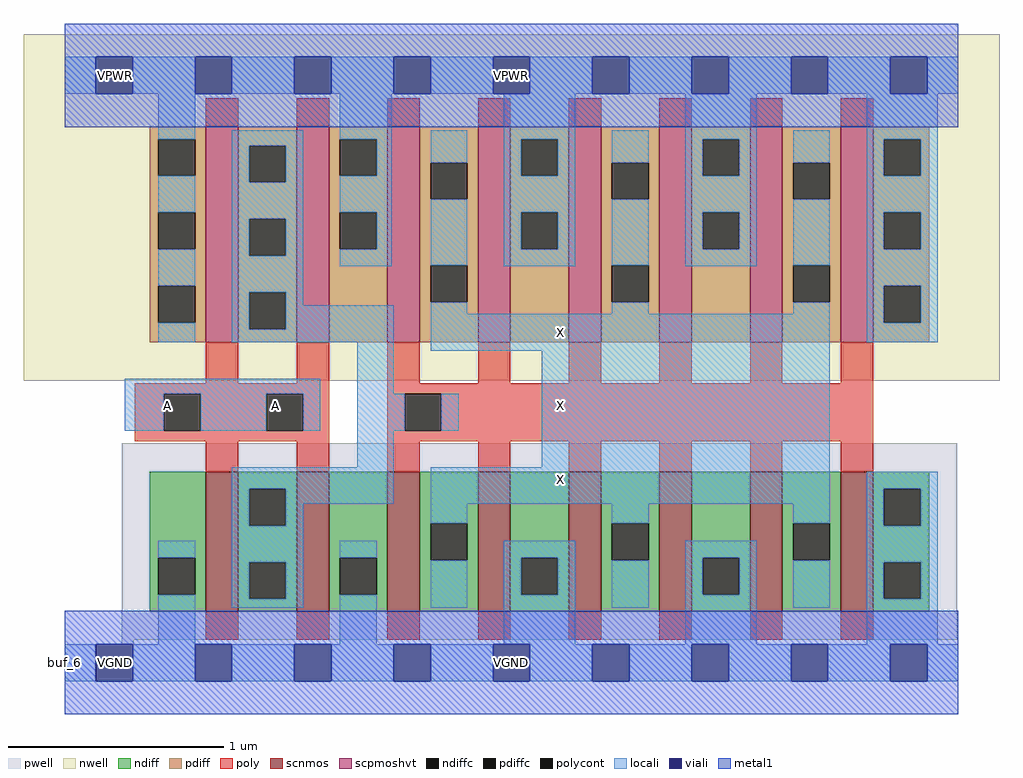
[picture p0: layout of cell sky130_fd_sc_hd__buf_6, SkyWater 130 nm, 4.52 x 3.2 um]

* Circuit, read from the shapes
.subckt sky130_fd_sc_hd__buf_6 A VGND VNB VPB VPWR X
XM1 n1 A VGND VNB sky130_fd_pr__nfet_01v8 w=0.65 l=0.15 m=2
XM2 X n1 VGND VNB sky130_fd_pr__nfet_01v8 w=0.65 l=0.15 m=6
XM3 n1 A VPWR VPB sky130_fd_pr__pfet_01v8_hvt w=1 l=0.15 m=2
XM4 X n1 VPWR VPB sky130_fd_pr__pfet_01v8_hvt w=1 l=0.15 m=6
.ends

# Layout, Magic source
magic
tech sky130B
magscale 1 2
<< nwell >>
rect -38 261 866 582
<< pwell >>
rect 53 21 827 203
rect 53 17 64 21
rect 30 -17 64 17
<< scnmos >>
rect 131 47 161 177
rect 215 47 245 177
rect 299 47 329 177
rect 383 47 413 177
rect 467 47 497 177
rect 551 47 581 177
rect 635 47 665 177
rect 719 47 749 177
<< scpmoshvt >>
rect 131 297 161 497
rect 215 297 245 497
rect 299 297 329 497
rect 383 297 413 497
rect 467 297 497 497
rect 551 297 581 497
rect 635 297 665 497
rect 719 297 749 497
<< ndiff >>
rect 79 97 131 177
rect 79 63 87 97
rect 121 63 131 97
rect 79 47 131 63
rect 161 161 215 177
rect 161 127 171 161
rect 205 127 215 161
rect 161 93 215 127
rect 161 59 171 93
rect 205 59 215 93
rect 161 47 215 59
rect 245 97 299 177
rect 245 63 255 97
rect 289 63 299 97
rect 245 47 299 63
rect 329 129 383 177
rect 329 95 339 129
rect 373 95 383 129
rect 329 47 383 95
rect 413 97 467 177
rect 413 63 423 97
rect 457 63 467 97
rect 413 47 467 63
rect 497 129 551 177
rect 497 95 507 129
rect 541 95 551 129
rect 497 47 551 95
rect 581 97 635 177
rect 581 63 591 97
rect 625 63 635 97
rect 581 47 635 63
rect 665 129 719 177
rect 665 95 675 129
rect 709 95 719 129
rect 665 47 719 95
rect 749 161 801 177
rect 749 127 759 161
rect 793 127 801 161
rect 749 93 801 127
rect 749 59 759 93
rect 793 59 801 93
rect 749 47 801 59
<< pdiff >>
rect 79 485 131 497
rect 79 451 87 485
rect 121 451 131 485
rect 79 417 131 451
rect 79 383 87 417
rect 121 383 131 417
rect 79 349 131 383
rect 79 315 87 349
rect 121 315 131 349
rect 79 297 131 315
rect 161 479 215 497
rect 161 445 171 479
rect 205 445 215 479
rect 161 411 215 445
rect 161 377 171 411
rect 205 377 215 411
rect 161 343 215 377
rect 161 309 171 343
rect 205 309 215 343
rect 161 297 215 309
rect 245 485 299 497
rect 245 451 255 485
rect 289 451 299 485
rect 245 417 299 451
rect 245 383 255 417
rect 289 383 299 417
rect 245 297 299 383
rect 329 463 383 497
rect 329 429 339 463
rect 373 429 383 463
rect 329 368 383 429
rect 329 334 339 368
rect 373 334 383 368
rect 329 297 383 334
rect 413 485 467 497
rect 413 451 423 485
rect 457 451 467 485
rect 413 417 467 451
rect 413 383 423 417
rect 457 383 467 417
rect 413 297 467 383
rect 497 463 551 497
rect 497 429 507 463
rect 541 429 551 463
rect 497 368 551 429
rect 497 334 507 368
rect 541 334 551 368
rect 497 297 551 334
rect 581 485 635 497
rect 581 451 591 485
rect 625 451 635 485
rect 581 417 635 451
rect 581 383 591 417
rect 625 383 635 417
rect 581 297 635 383
rect 665 463 719 497
rect 665 429 675 463
rect 709 429 719 463
rect 665 368 719 429
rect 665 334 675 368
rect 709 334 719 368
rect 665 297 719 334
rect 749 485 801 497
rect 749 451 759 485
rect 793 451 801 485
rect 749 417 801 451
rect 749 383 759 417
rect 793 383 801 417
rect 749 349 801 383
rect 749 315 759 349
rect 793 315 801 349
rect 749 297 801 315
<< ndiffc >>
rect 87 63 121 97
rect 171 127 205 161
rect 171 59 205 93
rect 255 63 289 97
rect 339 95 373 129
rect 423 63 457 97
rect 507 95 541 129
rect 591 63 625 97
rect 675 95 709 129
rect 759 127 793 161
rect 759 59 793 93
<< pdiffc >>
rect 87 451 121 485
rect 87 383 121 417
rect 87 315 121 349
rect 171 445 205 479
rect 171 377 205 411
rect 171 309 205 343
rect 255 451 289 485
rect 255 383 289 417
rect 339 429 373 463
rect 339 334 373 368
rect 423 451 457 485
rect 423 383 457 417
rect 507 429 541 463
rect 507 334 541 368
rect 591 451 625 485
rect 591 383 625 417
rect 675 429 709 463
rect 675 334 709 368
rect 759 451 793 485
rect 759 383 793 417
rect 759 315 793 349
<< poly >>
rect 131 497 161 523
rect 215 497 245 523
rect 299 497 329 523
rect 383 497 413 523
rect 467 497 497 523
rect 551 497 581 523
rect 635 497 665 523
rect 719 497 749 523
rect 131 259 161 297
rect 215 259 245 297
rect 65 249 245 259
rect 65 215 92 249
rect 126 215 187 249
rect 221 215 245 249
rect 65 205 245 215
rect 131 177 161 205
rect 215 177 245 205
rect 299 259 329 297
rect 383 259 413 297
rect 467 259 497 297
rect 551 259 581 297
rect 635 259 665 297
rect 719 259 749 297
rect 299 249 749 259
rect 299 215 315 249
rect 349 215 749 249
rect 299 205 749 215
rect 299 177 329 205
rect 383 177 413 205
rect 467 177 497 205
rect 551 177 581 205
rect 635 177 665 205
rect 719 177 749 205
rect 131 21 161 47
rect 215 21 245 47
rect 299 21 329 47
rect 383 21 413 47
rect 467 21 497 47
rect 551 21 581 47
rect 635 21 665 47
rect 719 21 749 47
<< polycont >>
rect 92 215 126 249
rect 187 215 221 249
rect 315 215 349 249
<< locali >>
rect 0 527 29 561
rect 63 527 121 561
rect 155 527 213 561
rect 247 527 305 561
rect 339 527 397 561
rect 431 527 489 561
rect 523 527 581 561
rect 615 527 673 561
rect 707 527 765 561
rect 799 527 828 561
rect 87 485 121 527
rect 87 417 121 451
rect 87 349 121 383
rect 87 297 121 315
rect 155 479 221 493
rect 155 445 171 479
rect 205 445 221 479
rect 155 411 221 445
rect 155 377 171 411
rect 205 377 221 411
rect 155 343 221 377
rect 255 485 303 527
rect 289 451 303 485
rect 255 417 303 451
rect 289 383 303 417
rect 255 367 303 383
rect 339 463 373 493
rect 339 368 373 429
rect 155 309 171 343
rect 205 331 221 343
rect 407 485 473 527
rect 407 451 423 485
rect 457 451 473 485
rect 407 417 473 451
rect 407 383 423 417
rect 457 383 473 417
rect 407 367 473 383
rect 507 463 541 493
rect 507 368 541 429
rect 205 309 305 331
rect 155 297 305 309
rect 56 249 237 263
rect 56 215 92 249
rect 126 215 187 249
rect 221 215 237 249
rect 271 249 305 297
rect 339 323 373 334
rect 575 485 641 527
rect 575 451 591 485
rect 625 451 641 485
rect 575 417 641 451
rect 575 383 591 417
rect 625 383 641 417
rect 575 367 641 383
rect 675 463 709 493
rect 675 368 709 429
rect 507 323 541 334
rect 675 323 709 334
rect 339 289 709 323
rect 743 485 809 527
rect 743 451 759 485
rect 793 451 809 485
rect 743 417 809 451
rect 743 383 759 417
rect 793 383 809 417
rect 743 349 809 383
rect 743 315 759 349
rect 793 315 809 349
rect 743 297 809 315
rect 271 215 315 249
rect 349 215 365 249
rect 271 181 305 215
rect 442 181 709 289
rect 155 161 305 181
rect 155 127 171 161
rect 205 147 305 161
rect 339 147 709 181
rect 205 127 221 147
rect 87 97 121 113
rect 87 17 121 63
rect 155 93 221 127
rect 339 129 373 147
rect 155 59 171 93
rect 205 59 221 93
rect 155 51 221 59
rect 255 97 289 113
rect 255 17 289 63
rect 507 129 541 147
rect 339 51 373 95
rect 407 97 473 113
rect 407 63 423 97
rect 457 63 473 97
rect 407 17 473 63
rect 675 129 709 147
rect 507 51 541 95
rect 575 97 641 113
rect 575 63 591 97
rect 625 63 641 97
rect 575 17 641 63
rect 675 51 709 95
rect 743 161 809 177
rect 743 127 759 161
rect 793 127 809 161
rect 743 93 809 127
rect 743 59 759 93
rect 793 59 809 93
rect 743 17 809 59
rect 0 -17 29 17
rect 63 -17 121 17
rect 155 -17 213 17
rect 247 -17 305 17
rect 339 -17 397 17
rect 431 -17 489 17
rect 523 -17 581 17
rect 615 -17 673 17
rect 707 -17 765 17
rect 799 -17 828 17
<< viali >>
rect 29 527 63 561
rect 121 527 155 561
rect 213 527 247 561
rect 305 527 339 561
rect 397 527 431 561
rect 489 527 523 561
rect 581 527 615 561
rect 673 527 707 561
rect 765 527 799 561
rect 29 -17 63 17
rect 121 -17 155 17
rect 213 -17 247 17
rect 305 -17 339 17
rect 397 -17 431 17
rect 489 -17 523 17
rect 581 -17 615 17
rect 673 -17 707 17
rect 765 -17 799 17
<< metal1 >>
rect 0 561 828 592
rect 0 527 29 561
rect 63 527 121 561
rect 155 527 213 561
rect 247 527 305 561
rect 339 527 397 561
rect 431 527 489 561
rect 523 527 581 561
rect 615 527 673 561
rect 707 527 765 561
rect 799 527 828 561
rect 0 496 828 527
rect 0 17 828 48
rect 0 -17 29 17
rect 63 -17 121 17
rect 155 -17 213 17
rect 247 -17 305 17
rect 339 -17 397 17
rect 431 -17 489 17
rect 523 -17 581 17
rect 615 -17 673 17
rect 707 -17 765 17
rect 799 -17 828 17
rect 0 -48 828 -17
<< labels >>
flabel metal1 s 30 527 64 561 0 FreeSans 200 0 0 0 VPWR
port 5 nsew power bidirectional abutment
flabel metal1 s 30 -17 64 17 0 FreeSans 200 0 0 0 VGND
port 2 nsew ground bidirectional abutment
flabel locali s 442 221 476 255 0 FreeSans 200 0 0 0 X
port 6 nsew signal output
flabel locali s 442 289 476 323 0 FreeSans 200 0 0 0 X
port 6 nsew signal output
flabel locali s 442 153 476 187 0 FreeSans 200 0 0 0 X
port 6 nsew signal output
flabel locali s 30 527 64 561 0 FreeSans 200 0 0 0 VPWR
port 5 nsew power bidirectional abutment
flabel locali s 30 -17 64 17 0 FreeSans 200 0 0 0 VGND
port 2 nsew ground bidirectional abutment
flabel locali s 178 221 212 255 0 FreeSans 200 0 0 0 A
port 1 nsew signal input
flabel locali s 78 221 112 255 0 FreeSans 200 0 0 0 A
port 1 nsew signal input
flabel nwell s 30 527 64 561 0 FreeSans 200 0 0 0 VPB
port 4 nsew power bidirectional
flabel pwell s 30 -17 64 17 0 FreeSans 200 0 0 0 VNB
port 3 nsew ground bidirectional
rlabel comment s 0 0 0 0 4 buf_6
rlabel metal1 s 0 -48 828 48 1 VGND
port 2 nsew ground bidirectional abutment
rlabel metal1 s 0 496 828 592 1 VPWR
port 5 nsew power bidirectional abutment
<< properties >>
string FIXED_BBOX 0 0 828 544
string GDS_END 3104496
string GDS_FILE $PDKPATH/libs.ref/sky130_fd_sc_hd/gds/sky130_fd_sc_hd.gds
string GDS_START 3097518
string LEFclass CORE
string LEFsite unithd
string LEFsymmetry X Y R90
string path 0.000 13.600 20.700 13.600 
<< end >>
